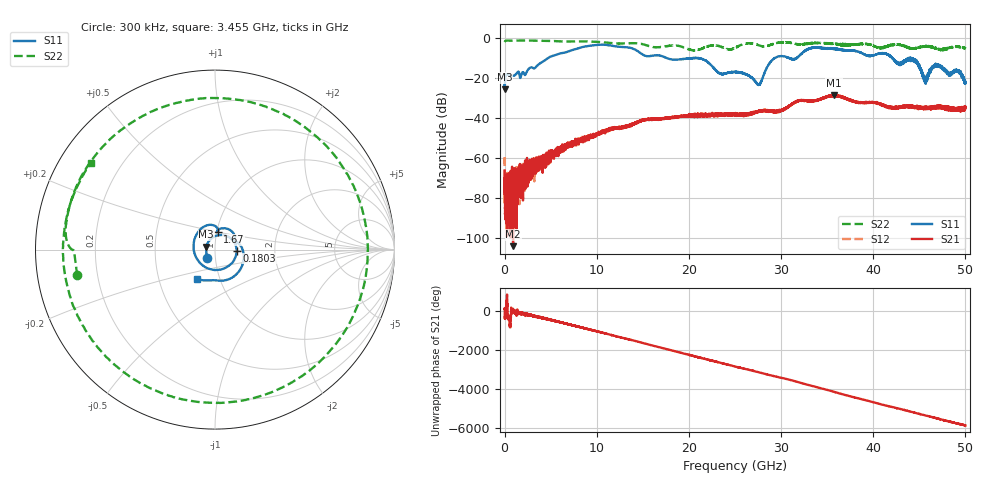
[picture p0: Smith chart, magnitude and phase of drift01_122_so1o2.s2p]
!Created with skrf (http://scikit-rf.org).
# Hz S RI R 50.0
!freq ReS11 ImS11 ReS21 ImS21 ReS12 ImS12 ReS22 ImS22
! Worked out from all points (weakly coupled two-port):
!   10001 points, 300 kHz to 50 GHz, reference 50 ohm
!   highest |S21| = -28.66 dB at 35.74 GHz (marker M1); lowest = -104.2 dB at 920.3 MHz (marker M2)
!   lowest |S11| = -25.8 dB at 5.3 MHz (marker M3), VSWR 1.11, Z = 45.3 + j1.41 ohm
!   |S11| at or under -10 dB: start of sweep to 4.77 GHz; 17.52 GHz to 29.37 GHz (11.85 GHz wide, 50.5 % of centre); 44.04 GHz to end of sweep (the widest 3 of 10)
!   |S22| runs from -6.4 to -1.4 dB; largest |S21 - S12| = 0.0039
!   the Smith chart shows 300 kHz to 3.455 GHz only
!   S11 on the Smith chart (normalised r, x): 300 kHz: 0.91, -0.08; 180.3 MHz: 1.27, -0.01; 1.67 GHz: 1.01, +0.20; 3.455 GHz: 0.78, -0.26
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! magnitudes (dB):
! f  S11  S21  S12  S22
! 300 kHz  -23.7  -66.3  -59.8  -2.1
! 5.3 MHz  -25.8  -72.9  -82.0  -2.1
! 180.3 MHz  -18.4  -89.9  -73.8  -1.4
! 920.3 MHz  -19.0  -104.2  -67.2  -1.5
! 1.67 GHz  -20.0  -64.7  -66.7  -1.4
! 3.455 GHz  -14.3  -63.7  -61.8  -1.5
! 8.335 GHz  -4.8  -50.7  -51.5  -1.8
! 16.67 GHz  -8.8  -40.7  -40.6  -4.8
! 21.22 GHz  -10.3  -38.5  -39.5  -5.7
! 23.39 GHz  -18.0  -38.2  -38.7  -4.3
! 25 GHz  -17.1  -38.1  -38.1  -5.1
! 27.59 GHz  -23.4  -36.6  -36.7  -3.8
! 29.28 GHz  -10.3  -36.9  -36.9  -2.9
! 31.47 GHz  -10.7  -32.2  -32.2  -2.9
! 33.34 GHz  -5.1  -31.6  -31.5  -2.7
! 35.74 GHz  -5.5  -28.7  -28.9  -3.0
! 41.67 GHz  -8.7  -34.4  -34.9  -4.2
! 42.79 GHz  -13.1  -34.7  -34.6  -3.5
! 44.49 GHz  -11.2  -34.6  -34.6  -5.3
! 45.63 GHz  -21.6  -35.3  -34.7  -4.3
! 46.96 GHz  -13.6  -34.9  -34.5  -5.6
! 50 GHz  -22.0  -34.9  -35.4  -5.3
